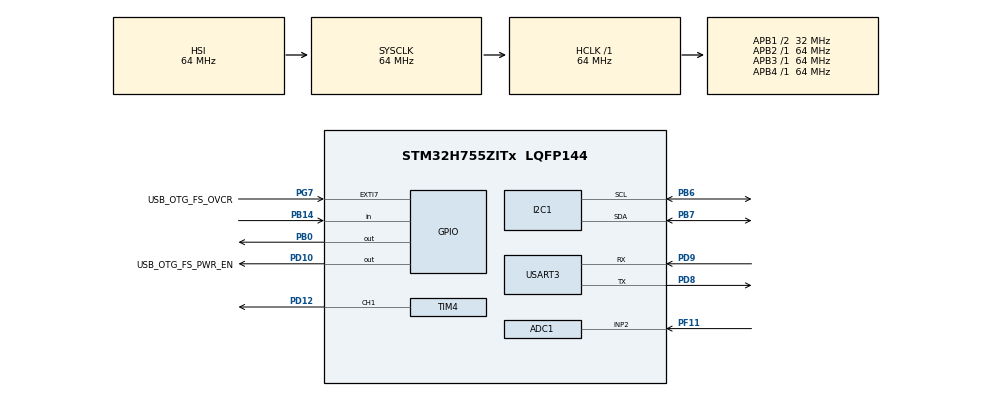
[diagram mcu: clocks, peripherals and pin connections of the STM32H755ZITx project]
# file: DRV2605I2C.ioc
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ADC1.Channel-0\#ChannelRegularConversion=ADC_CHANNEL_2
ADC1.ClockPrescaler=ADC_CLOCK_ASYNC_DIV256
ADC1.ContinuousConvMode=DISABLE
ADC1.NbrOfConversionFlag=1
ADC1.OffsetNumber-0\#ChannelRegularConversion=ADC_OFFSET_NONE
ADC1.OffsetSignedSaturation-0\#ChannelRegularConversion=DISABLE
ADC1.Rank-0\#ChannelRegularConversion=1
ADC1.SamplingTime-0\#ChannelRegularConversion=ADC_SAMPLETIME_32CYCLES_5
ADC1.master=1
CortexM4.IPs=FATFS_M4\:I,FREERTOS_M4\:I,IWDG2\:I,RCC,WWDG2\:I,DMA,BDMA,MDMA,NVIC2\:I,ETH,DEBUG,PDM2PCM_M4\:I,PWR,RESMGR_UTILITY,SYS_M4\:I,USB_DEVICE_M4\:I,USB_HOST_M4\:I,CORTEX_M4\:I,GPIO,OPENAMP_M4\:I,VREFBUF
CortexM7.IPs=FATFS_M7\:I,FREERTOS_M7\:I,IWDG1\:I,RCC\:I,WWDG1\:I,DMA\:I,BDMA\:I,MDMA\:I,NVIC1\:I,ETH\:I,USART3\:I,USB_OTG_FS\:I,SYS\:I,CORTEX_M7\:I,DEBUG\:I,PDM2PCM_M7\:I,PWR\:I,RESMGR_UTILITY\:I,USB_DEVICE_M7\:I,USB_HOST_M7\:I,GPIO\:I,OPENAMP_M7\:I,VREFBUF\:I,I2C1\:I,ADC1\:I,TIM4\:I
CortexM7.Pins=PB0,PB14
I2C1.Timing=0x00707CBB
Mcu.Family=STM32H7
Mcu.Name=STM32H755ZITx
Mcu.Package=LQFP144
Mcu.UserConstants=TIMA_DUTY_CYCLE-CortexM7,0.5
NVIC1.PriorityGroup=NVIC_PRIORITYGROUP_4
NVIC1.USART3_IRQn=true\:0\:0\:false\:false\:true\:true\:true\:true
NVIC2.PriorityGroup=NVIC_PRIORITYGROUP_4
PA1.PinAttribute=CortexM7
PA1.Signal=ETH_REF_CLK
PA11.PinAttribute=CortexM7
PA11.Signal=USB_OTG_FS_DM
PA12.PinAttribute=CortexM7
PA12.Signal=USB_OTG_FS_DP
PA2.PinAttribute=CortexM7
PA2.Signal=ETH_MDIO
PA7.PinAttribute=CortexM7
PA7.Signal=ETH_CRS_DV
PA8.PinAttribute=CortexM7
PA8.Signal=USB_OTG_FS_SOF
PA9.PinAttribute=CortexM7
PA9.Signal=USB_OTG_FS_VBUS
PB0.PinAttribute=CortexM7
PB0.Signal=GPIO_Output
PB13.PinAttribute=CortexM7
PB13.Signal=ETH_TXD1
PB14.PinAttribute=CortexM7
PB14.Signal=GPIO_Input
PB6.Mode=I2C
PB6.PinAttribute=CortexM7
PB6.Signal=I2C1_SCL
PB7.Mode=I2C
PB7.PinAttribute=CortexM7
PB7.Signal=I2C1_SDA
PC1.PinAttribute=CortexM7
PC1.Signal=ETH_MDC
PC14-OSC32_IN\ (OSC32_IN).PinAttribute=Free
PC14-OSC32_IN\ (OSC32_IN).Signal=RCC_OSC32_IN
PC15-OSC32_OUT\ (OSC32_OUT).PinAttribute=Free
PC15-OSC32_OUT\ (OSC32_OUT).Signal=RCC_OSC32_OUT
PC4.PinAttribute=CortexM7
PC4.Signal=ETH_RXD0
PC5.PinAttribute=CortexM7
PC5.Signal=ETH_RXD1
PD10.GPIO_Label=USB_OTG_FS_PWR_EN
PD10.PinAttribute=Free
PD10.Signal=GPIO_Output
PD12.PinAttribute=CortexM7
PD12.Signal=S_TIM4_CH1
PD8.Mode=Asynchronous
PD8.PinAttribute=CortexM7
PD8.Signal=USART3_TX
PD9.Mode=Asynchronous
PD9.PinAttribute=CortexM7
PD9.Signal=USART3_RX
PF11.Mode=IN2-Single-Ended
PF11.PinAttribute=CortexM7
PF11.Signal=ADC1_INP2
PG11.PinAttribute=CortexM7
PG11.Signal=ETH_TX_EN
PG13.PinAttribute=CortexM7
PG13.Signal=ETH_TXD0
PG7.GPIO_Label=USB_OTG_FS_OVCR
PG7.PinAttribute=Free
PG7.Signal=GPXTI7
PH0-OSC_IN\ (PH0).PinAttribute=Free
PH0-OSC_IN\ (PH0).Signal=RCC_OSC_IN
PH1-OSC_OUT\ (PH1).PinAttribute=Free
PH1-OSC_OUT\ (PH1).Signal=RCC_OSC_OUT
ProjectManager.HeapSize=M4-0x200,M7-0x200
ProjectManager.StackSize=M4-0x400,M7-0x400
ProjectManager.TargetToolchain=STM32CubeIDE
RCC.ADCFreq_Value=80000000
RCC.APB1Freq_Value=32000000
RCC.APB2Freq_Value=64000000
RCC.APB3Freq_Value=64000000
RCC.APB4Freq_Value=64000000
RCC.CortexFreq_Value=64000000
RCC.D2PPRE1=RCC_APB1_DIV2
RCC.DIVM1=5
RCC.DIVM2=4
RCC.DIVN1=48
RCC.DIVN2=10
RCC.DIVQ1=5
RCC.HCLKFreq_Value=64000000
RCC.PLL2FRACN=0
RCC.PLL3FRACN=0
RCC.PLLFRACN=0
RCC.SYSCLKFreq_VALUE=64000000
RCC.SupplySource=PWR_DIRECT_SMPS_SUPPLY
RCC.USBFreq_Value=122880000
SH.S_TIM4_CH1.0=TIM4_CH1,PWM Generation1 CH1
TIM4.Channel-PWM\ Generation1\ CH1=TIM_CHANNEL_1
TIM4.Period=1000-1
TIM4.Prescaler=6-1
USART3.VirtualMode-Asynchronous=VM_ASYNC
VP_SYS_M4_VS_Systick.Mode=SysTick
board=NUCLEO-H755ZI-Q

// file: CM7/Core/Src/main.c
/* USER CODE BEGIN Header */
/**
  ******************************************************************************
  * @file           : main.c
  * @brief          : Main program body
  ******************************************************************************
  * @attention
  *
  * Copyright (c) 2024 STMicroelectronics.
  * All rights reserved.
  *
  * This software is licensed under terms that can be found in the LICENSE file
  * in the root directory of this software component.
  * If no LICENSE file comes with this software, it is provided AS-IS.
  *
  ******************************************************************************
  */
#include "string.h"
#include "stdlib.h"
#include <stdio.h>
/* USER CODE END Header */
#include "main.h"

/* USER CODE BEGIN PD */

#ifndef HSEM_ID_0
#define HSEM_ID_0 (0U) /* HW semaphore 0*/
#endif

/* USER CODE END PD */

ADC_HandleTypeDef hadc1;

I2C_HandleTypeDef hi2c1;

TIM_HandleTypeDef htim4;

UART_HandleTypeDef huart3;

/* USER CODE BEGIN PV */
uint8_t adc_tx_buffer[8];
uint32_t adc_rotary_value;
/* USER CODE END PV */

void SystemClock_Config(void);
static void MX_GPIO_Init(void);
static void MX_I2C1_Init(void);
static void MX_USART3_UART_Init(void);
static void MX_ADC1_Init(void);
static void MX_TIM4_Init(void);
/* USER CODE BEGIN PFP */
void rx_callback();
/* USER CODE END PFP */

/* USER CODE BEGIN 0 */
uint8_t tx_buffer[] = "h\n";
uint8_t rx_buffer[10];
uint8_t i2c_read_buffer[1];
uint8_t i2c_write_buffer[1];
HAL_StatusTypeDef tx_status;
/* USER CODE END 0 */

int main(void)
{

/* USER CODE BEGIN Boot_Mode_Sequence_0 */
  int32_t timeout;
/* USER CODE END Boot_Mode_Sequence_0 */

/* USER CODE BEGIN Boot_Mode_Sequence_1 */
  /* Wait until CPU2 boots and enters in stop mode or timeout*/
  timeout = 0xFFFF;
  while((__HAL_RCC_GET_FLAG(RCC_FLAG_D2CKRDY) != RESET) && (timeout-- > 0));
  if ( timeout < 0 )
  {
  Error_Handler();
  }
/* USER CODE END Boot_Mode_Sequence_1 */
  /* MCU Configuration--------------------------------------------------------*/

  /* Reset of all peripherals, Initializes the Flash interface and the Systick. */
  HAL_Init();

  /* Configure the system clock */
  SystemClock_Config();
/* USER CODE BEGIN Boot_Mode_Sequence_2 */
/* When system initialization is finished, Cortex-M7 will release Cortex-M4 by means of
HSEM notification */
/*HW semaphore Clock enable*/
__HAL_RCC_HSEM_CLK_ENABLE();
/*Take HSEM */
HAL_HSEM_FastTake(HSEM_ID_0);
/*Release HSEM in order to notify the CPU2(CM4)*/
HAL_HSEM_Release(HSEM_ID_0,0);
/* wait until CPU2 wakes up from stop mode */
timeout = 0xFFFF;
while((__HAL_RCC_GET_FLAG(RCC_FLAG_D2CKRDY) == RESET) && (timeout-- > 0));
if ( timeout < 0 )
{
Error_Handler();
}
/* USER CODE END Boot_Mode_Sequence_2 */

  /* Initialize all configured peripherals */
  MX_GPIO_Init();
  MX_I2C1_Init();
  MX_USART3_UART_Init();
  MX_ADC1_Init();
  MX_TIM4_Init();
  /* USER CODE BEGIN 2 */
#if 1
  // Calibration mode
  i2c_write_buffer[0] = 0x07;
  HAL_I2C_Mem_Write(&hi2c1, 0b10110100, 0x01, 1, i2c_write_buffer, 1, 100);

  // set register 0x1a for calibration
  i2c_write_buffer[0] = 0b10000000 + 0b00100000 + 0b00000100 + 0b00000010;
  HAL_I2C_Mem_Write(&hi2c1, 0b10110100, 0x1A, 1, i2c_write_buffer, 1, 100);

  // set register 0x1c for calibration
  i2c_write_buffer[0] = 0b11000000 + 0b00110000 + 0b00001100 + 0b00000001;
  HAL_I2C_Mem_Write(&hi2c1, 0b10110100, 0x1C, 1, i2c_write_buffer, 1, 100);

  // set register 0x1e for calibration
  i2c_write_buffer[0] = 0b11110000;
  HAL_I2C_Mem_Write(&hi2c1, 0b10110100, 0x1E, 1, i2c_write_buffer, 1, 100);

  // set register 0x1f for calibration
  i2c_write_buffer[0] = 0b10000000;
  HAL_I2C_Mem_Write(&hi2c1, 0b10110100, 0x1F, 1, i2c_write_buffer, 1, 100);

  // set register 0x16 for calibration
  i2c_write_buffer[0] = 0b01010100;
  HAL_I2C_Mem_Write(&hi2c1, 0b10110100, 0x16, 1, i2c_write_buffer, 1, 100);

  // set register 0x17 for calibration
  i2c_write_buffer[0] = 0b10000101;
  HAL_I2C_Mem_Write(&hi2c1, 0b10110100, 0x17, 1, i2c_write_buffer, 1, 100);

  // set register 0x1b for calibration
  i2c_write_buffer[0] = 0b10010011;
  HAL_I2C_Mem_Write(&hi2c1, 0b10110100, 0x1B, 1, i2c_write_buffer, 1, 100);

  // start calibration
  i2c_write_buffer[0] = 0x01;
  HAL_I2C_Mem_Write(&hi2c1, 0b10110100, 0x0C, 1, i2c_write_buffer, 1, 100);

  HAL_Delay(2000);
#endif

  // select LRA library
  i2c_write_buffer[0] = 0b00000110;
  tx_status = HAL_I2C_Mem_Write(&hi2c1, 0b10110100, 0x03, 1, i2c_write_buffer, 1, 100);

  // enter internal trigger mode
  i2c_write_buffer[0] = 0x00;
  tx_status = HAL_I2C_Mem_Write(&hi2c1, 0b10110100, 0x01, 1, i2c_write_buffer, 1, 100);

  HAL_UART_Receive_IT(&huart3, rx_buffer, 3);

  // calibrate adc
  HAL_ADCEx_Calibration_Start(&hadc1, ADC_CALIB_OFFSET, ADC_SINGLE_ENDED);

  //start pwm
  TIM4->CCR1 = 0;
  HAL_TIM_PWM_Start(&htim4, TIM_CHANNEL_1);
  /* USER CODE END 2 */

  /* Infinite loop */
  while (1)
  {

    /* USER CODE BEGIN 3 */
    HAL_GPIO_TogglePin(GPIOB, GPIO_PIN_0);
    HAL_Delay(100);
    if (HAL_GPIO_ReadPin(GPIOB, GPIO_PIN_14)) {
    	HAL_GPIO_WritePin(GPIOB, GPIO_PIN_0, GPIO_PIN_SET);
    	// enter pwm mode
    	i2c_write_buffer[0] = 0b00000011;
    	HAL_I2C_Mem_Write(&hi2c1, 0b10110100, 0x01, 1, i2c_write_buffer, 1, 100);
    	i2c_write_buffer[0] = 0b10100000;
    	HAL_I2C_Mem_Write(&hi2c1, 0b10110100, 0x1d, 1, i2c_write_buffer, 1, 100);

    	while(HAL_GPIO_ReadPin(GPIOB, GPIO_PIN_14)) {
            HAL_ADC_Start(&hadc1);
            adc_rotary_value = HAL_ADC_GetValue(&hadc1);
            //set_pwm_value(adc_rotary_value);
            TIM4->CCR1 = adc_rotary_value / 66 / 2 + 500;
            itoa(adc_rotary_value, adc_tx_buffer, 10);
            adc_tx_buffer[strlen(adc_tx_buffer)] = 10;
            HAL_UART_Transmit(&huart3, adc_tx_buffer, strlen(adc_tx_buffer), 100);
    	}

    	// enter standy
    	i2c_write_buffer[0] = 01000000;
    	tx_status = HAL_I2C_Mem_Write(&hi2c1, 0b10110100, 0x01, 1, i2c_write_buffer, 1, 100);

    	// select LRA library
    	i2c_write_buffer[0] = 0b00000110;
    	tx_status = HAL_I2C_Mem_Write(&hi2c1, 0b10110100, 0x03, 1, i2c_write_buffer, 1, 100);

    	// enter internal trigger mode
    	i2c_write_buffer[0] = 0x00;
    	tx_status = HAL_I2C_Mem_Write(&hi2c1, 0b10110100, 0x01, 1, i2c_write_buffer, 1, 100);

    	HAL_I2C_Mem_Read(&hi2c1, 0b10110100, 0x01, 1, i2c_read_buffer, 1, 100);
    	HAL_I2C_Mem_Read(&hi2c1, 0b10110100, 0x00, 1, i2c_read_buffer, 1, 100);
    }
  }
  /* USER CODE END 3 */
}

void SystemClock_Config(void)
{
  RCC_OscInitTypeDef RCC_OscInitStruct = {0};
  RCC_ClkInitTypeDef RCC_ClkInitStruct = {0};

  /** Supply configuration update enable
  */
  HAL_PWREx_ConfigSupply(PWR_DIRECT_SMPS_SUPPLY);

  /** Configure the main internal regulator output voltage
  */
  __HAL_PWR_VOLTAGESCALING_CONFIG(PWR_REGULATOR_VOLTAGE_SCALE3);

  while(!__HAL_PWR_GET_FLAG(PWR_FLAG_VOSRDY)) {}

  /** Macro to configure the PLL clock source
  */
  __HAL_RCC_PLL_PLLSOURCE_CONFIG(RCC_PLLSOURCE_HSI);

  /** Initializes the RCC Oscillators according to the specified parameters
  * in the RCC_OscInitTypeDef structure.
  */
  RCC_OscInitStruct.OscillatorType = RCC_OSCILLATORTYPE_HSI;
  RCC_OscInitStruct.HSIState = RCC_HSI_DIV1;
  RCC_OscInitStruct.HSICalibrationValue = RCC_HSICALIBRATION_DEFAULT;
  RCC_OscInitStruct.PLL.PLLState = RCC_PLL_NONE;
  if (HAL_RCC_OscConfig(&RCC_OscInitStruct) != HAL_OK)
  {
    Error_Handler();
  }

  /** Initializes the CPU, AHB and APB buses clocks
  */
  RCC_ClkInitStruct.ClockType = RCC_CLOCKTYPE_HCLK|RCC_CLOCKTYPE_SYSCLK
                              |RCC_CLOCKTYPE_PCLK1|RCC_CLOCKTYPE_PCLK2
                              |RCC_CLOCKTYPE_D3PCLK1|RCC_CLOCKTYPE_D1PCLK1;
  RCC_ClkInitStruct.SYSCLKSource = RCC_SYSCLKSOURCE_HSI;
  RCC_ClkInitStruct.SYSCLKDivider = RCC_SYSCLK_DIV1;
  RCC_ClkInitStruct.AHBCLKDivider = RCC_HCLK_DIV1;
  RCC_ClkInitStruct.APB3CLKDivider = RCC_APB3_DIV1;
  RCC_ClkInitStruct.APB1CLKDivider = RCC_APB1_DIV2;
  RCC_ClkInitStruct.APB2CLKDivider = RCC_APB2_DIV1;
  RCC_ClkInitStruct.APB4CLKDivider = RCC_APB4_DIV1;

  if (HAL_RCC_ClockConfig(&RCC_ClkInitStruct, FLASH_LATENCY_1) != HAL_OK)
  {
    Error_Handler();
  }
}

static void MX_ADC1_Init(void)
{

  ADC_MultiModeTypeDef multimode = {0};
  ADC_ChannelConfTypeDef sConfig = {0};

  /** Common config
  */
  hadc1.Instance = ADC1;
  hadc1.Init.ScanConvMode = ADC_SCAN_DISABLE;
  hadc1.Init.EOCSelection = ADC_EOC_SINGLE_CONV;
  hadc1.Init.LowPowerAutoWait = DISABLE;
  hadc1.Init.ContinuousConvMode = DISABLE;
  hadc1.Init.NbrOfConversion = 1;
  hadc1.Init.DiscontinuousConvMode = DISABLE;
  hadc1.Init.ExternalTrigConv = ADC_SOFTWARE_START;
  hadc1.Init.ExternalTrigConvEdge = ADC_EXTERNALTRIGCONVEDGE_NONE;
  hadc1.Init.ConversionDataManagement = ADC_CONVERSIONDATA_DR;
  hadc1.Init.Overrun = ADC_OVR_DATA_PRESERVED;
  hadc1.Init.LeftBitShift = ADC_LEFTBITSHIFT_NONE;
  hadc1.Init.OversamplingMode = DISABLE;
  hadc1.Init.Oversampling.Ratio = 1;
  if (HAL_ADC_Init(&hadc1) != HAL_OK)
  {
    Error_Handler();
  }
  hadc1.Init.ClockPrescaler = ADC_CLOCK_ASYNC_DIV256;
  hadc1.Init.Resolution = ADC_RESOLUTION_16B;
  if (HAL_ADC_Init(&hadc1) != HAL_OK)
  {
    Error_Handler();
  }

  /** Configure the ADC multi-mode
  */
  multimode.Mode = ADC_MODE_INDEPENDENT;
  if (HAL_ADCEx_MultiModeConfigChannel(&hadc1, &multimode) != HAL_OK)
  {
    Error_Handler();
  }

  /** Configure Regular Channel
  */
  sConfig.Channel = ADC_CHANNEL_2;
  sConfig.Rank = ADC_REGULAR_RANK_1;
  sConfig.SamplingTime = ADC_SAMPLETIME_32CYCLES_5;
  sConfig.SingleDiff = ADC_SINGLE_ENDED;
  sConfig.OffsetNumber = ADC_OFFSET_NONE;
  sConfig.Offset = 0;
  sConfig.OffsetSignedSaturation = DISABLE;
  if (HAL_ADC_ConfigChannel(&hadc1, &sConfig) != HAL_OK)
  {
    Error_Handler();
  }

}

static void MX_I2C1_Init(void)
{

  hi2c1.Instance = I2C1;
  hi2c1.Init.Timing = 0x00707CBB;
  hi2c1.Init.OwnAddress1 = 0;
  hi2c1.Init.AddressingMode = I2C_ADDRESSINGMODE_7BIT;
  hi2c1.Init.DualAddressMode = I2C_DUALADDRESS_DISABLE;
  hi2c1.Init.OwnAddress2 = 0;
  hi2c1.Init.OwnAddress2Masks = I2C_OA2_NOMASK;
  hi2c1.Init.GeneralCallMode = I2C_GENERALCALL_DISABLE;
  hi2c1.Init.NoStretchMode = I2C_NOSTRETCH_DISABLE;
  if (HAL_I2C_Init(&hi2c1) != HAL_OK)
  {
    Error_Handler();
  }

  /** Configure Analogue filter
  */
  if (HAL_I2CEx_ConfigAnalogFilter(&hi2c1, I2C_ANALOGFILTER_ENABLE) != HAL_OK)
  {
    Error_Handler();
  }

  /** Configure Digital filter
  */
  if (HAL_I2CEx_ConfigDigitalFilter(&hi2c1, 0) != HAL_OK)
  {
    Error_Handler();
  }

}

static void MX_TIM4_Init(void)
{

  TIM_MasterConfigTypeDef sMasterConfig = {0};
  TIM_OC_InitTypeDef sConfigOC = {0};

  htim4.Instance = TIM4;
  htim4.Init.Prescaler = 6-1;
  htim4.Init.CounterMode = TIM_COUNTERMODE_UP;
  htim4.Init.Period = 1000-1;
  htim4.Init.ClockDivision = TIM_CLOCKDIVISION_DIV1;
  htim4.Init.AutoReloadPreload = TIM_AUTORELOAD_PRELOAD_DISABLE;
  if (HAL_TIM_PWM_Init(&htim4) != HAL_OK)
  {
    Error_Handler();
  }
  sMasterConfig.MasterOutputTrigger = TIM_TRGO_RESET;
  sMasterConfig.MasterSlaveMode = TIM_MASTERSLAVEMODE_DISABLE;
  if (HAL_TIMEx_MasterConfigSynchronization(&htim4, &sMasterConfig) != HAL_OK)
  {
    Error_Handler();
  }
  sConfigOC.OCMode = TIM_OCMODE_PWM1;
  sConfigOC.Pulse = 0;
  sConfigOC.OCPolarity = TIM_OCPOLARITY_HIGH;
  sConfigOC.OCFastMode = TIM_OCFAST_DISABLE;
  if (HAL_TIM_PWM_ConfigChannel(&htim4, &sConfigOC, TIM_CHANNEL_1) != HAL_OK)
  {
    Error_Handler();
  }
  HAL_TIM_MspPostInit(&htim4);

}

static void MX_USART3_UART_Init(void)
{

  huart3.Instance = USART3;
  huart3.Init.BaudRate = 115200;
  huart3.Init.WordLength = UART_WORDLENGTH_8B;
  huart3.Init.StopBits = UART_STOPBITS_1;
  huart3.Init.Parity = UART_PARITY_NONE;
  huart3.Init.Mode = UART_MODE_TX_RX;
  huart3.Init.HwFlowCtl = UART_HWCONTROL_NONE;
  huart3.Init.OverSampling = UART_OVERSAMPLING_16;
  huart3.Init.OneBitSampling = UART_ONE_BIT_SAMPLE_DISABLE;
  huart3.Init.ClockPrescaler = UART_PRESCALER_DIV1;
  huart3.AdvancedInit.AdvFeatureInit = UART_ADVFEATURE_NO_INIT;
  if (HAL_UART_Init(&huart3) != HAL_OK)
  {
    Error_Handler();
  }
  if (HAL_UARTEx_SetTxFifoThreshold(&huart3, UART_TXFIFO_THRESHOLD_1_8) != HAL_OK)
  {
    Error_Handler();
  }
  if (HAL_UARTEx_SetRxFifoThreshold(&huart3, UART_RXFIFO_THRESHOLD_1_8) != HAL_OK)
  {
    Error_Handler();
  }
  if (HAL_UARTEx_DisableFifoMode(&huart3) != HAL_OK)
  {
    Error_Handler();
  }

}

static void MX_GPIO_Init(void)
{
  GPIO_InitTypeDef GPIO_InitStruct = {0};

  /* GPIO Ports Clock Enable */
  __HAL_RCC_GPIOC_CLK_ENABLE();
  __HAL_RCC_GPIOA_CLK_ENABLE();
  __HAL_RCC_GPIOB_CLK_ENABLE();
  __HAL_RCC_GPIOF_CLK_ENABLE();
  __HAL_RCC_GPIOD_CLK_ENABLE();
  __HAL_RCC_GPIOG_CLK_ENABLE();

  /*Configure GPIO pin Output Level */
  HAL_GPIO_WritePin(GPIOB, GPIO_PIN_0, GPIO_PIN_RESET);

  /*Configure GPIO pins : PC1 PC4 PC5 */
  GPIO_InitStruct.Pin = GPIO_PIN_1|GPIO_PIN_4|GPIO_PIN_5;
  GPIO_InitStruct.Mode = GPIO_MODE_AF_PP;
  GPIO_InitStruct.Pull = GPIO_NOPULL;
  GPIO_InitStruct.Speed = GPIO_SPEED_FREQ_LOW;
  GPIO_InitStruct.Alternate = GPIO_AF11_ETH;
  HAL_GPIO_Init(GPIOC, &GPIO_InitStruct);

  /*Configure GPIO pins : PA1 PA2 PA7 */
  GPIO_InitStruct.Pin = GPIO_PIN_1|GPIO_PIN_2|GPIO_PIN_7;
  GPIO_InitStruct.Mode = GPIO_MODE_AF_PP;
  GPIO_InitStruct.Pull = GPIO_NOPULL;
  GPIO_InitStruct.Speed = GPIO_SPEED_FREQ_LOW;
  GPIO_InitStruct.Alternate = GPIO_AF11_ETH;
  HAL_GPIO_Init(GPIOA, &GPIO_InitStruct);

  /*Configure GPIO pin : PB0 */
  GPIO_InitStruct.Pin = GPIO_PIN_0;
  GPIO_InitStruct.Mode = GPIO_MODE_OUTPUT_PP;
  GPIO_InitStruct.Pull = GPIO_NOPULL;
  GPIO_InitStruct.Speed = GPIO_SPEED_FREQ_LOW;
  HAL_GPIO_Init(GPIOB, &GPIO_InitStruct);

  /*Configure GPIO pin : PB13 */
  GPIO_InitStruct.Pin = GPIO_PIN_13;
  GPIO_InitStruct.Mode = GPIO_MODE_AF_PP;
  GPIO_InitStruct.Pull = GPIO_NOPULL;
  GPIO_InitStruct.Speed = GPIO_SPEED_FREQ_LOW;
  GPIO_InitStruct.Alternate = GPIO_AF11_ETH;
  HAL_GPIO_Init(GPIOB, &GPIO_InitStruct);

  /*Configure GPIO pin : PB14 */
  GPIO_InitStruct.Pin = GPIO_PIN_14;
  GPIO_InitStruct.Mode = GPIO_MODE_INPUT;
  GPIO_InitStruct.Pull = GPIO_NOPULL;
  HAL_GPIO_Init(GPIOB, &GPIO_InitStruct);

  /*Configure GPIO pins : PA8 PA11 PA12 */
  GPIO_InitStruct.Pin = GPIO_PIN_8|GPIO_PIN_11|GPIO_PIN_12;
  GPIO_InitStruct.Mode = GPIO_MODE_AF_PP;
  GPIO_InitStruct.Pull = GPIO_NOPULL;
  GPIO_InitStruct.Speed = GPIO_SPEED_FREQ_LOW;
  GPIO_InitStruct.Alternate = GPIO_AF10_OTG1_FS;
  HAL_GPIO_Init(GPIOA, &GPIO_InitStruct);

  /*Configure GPIO pins : PG11 PG13 */
  GPIO_InitStruct.Pin = GPIO_PIN_11|GPIO_PIN_13;
  GPIO_InitStruct.Mode = GPIO_MODE_AF_PP;
  GPIO_InitStruct.Pull = GPIO_NOPULL;
  GPIO_InitStruct.Speed = GPIO_SPEED_FREQ_LOW;
  GPIO_InitStruct.Alternate = GPIO_AF11_ETH;
  HAL_GPIO_Init(GPIOG, &GPIO_InitStruct);

}

/* USER CODE BEGIN 4 */
void HAL_UART_RxCpltCallback(UART_HandleTypeDef *huart)
{
	tx_buffer[0] = rx_buffer[0];
	HAL_UART_Transmit(huart, tx_buffer, 2, 100);
	int rx = atoi(rx_buffer);
	if (rx == 0) {
		HAL_I2C_Mem_Read(&hi2c1, 0b10110100, 0x00, 1, i2c_read_buffer, 1, 100);
		// tx_buffer[0] = i2c_read_buffer[0];
		uint8_t bits[9];
		itoa(i2c_read_buffer[0], bits, 2);
		bits[strlen(bits)] = '\n';
		tx_status = HAL_UART_Transmit(huart, bits, 9, 100);
	}
	else {
		// load internal vibration effect to the 1st waveform sequencer register
		i2c_write_buffer[0] = rx;
		HAL_I2C_Mem_Write(&hi2c1, 0b10110100, 0x04, 1, i2c_write_buffer, 1, 100);
		// set GO bit to trigger vibration
		i2c_write_buffer[0] = 0x01;
		HAL_I2C_Mem_Write(&hi2c1, 0b10110100, 0x0C, 1, i2c_write_buffer, 1, 100);
	}
	HAL_UART_Receive_IT(huart, rx_buffer, 3);
}

#if 0
void set_pwm_value(uint32_t value) {
	TIM_OC_InitTypeDef sConfigOC;

	sConfigOC.OCMode = TIM_OCMODE_PWM1;
	sConfigOC.Pulse = 0;
	sConfigOC.OCPolarity = TIM_OCPOLARITY_HIGH;
	sConfigOC.OCFastMode = TIM_OCFAST_DISABLE;
    HAL_TIM_PWM_ConfigChannel(&htim4, &sConfigOC, TIM_CHANNEL_1);
    HAL_TIM_PWM_Start(&htim4, TIM_CHANNEL_1);
}
#endif
/* USER CODE END 4 */

void Error_Handler(void)
{
  __disable_irq();
  while (1)
  {
  }
}
